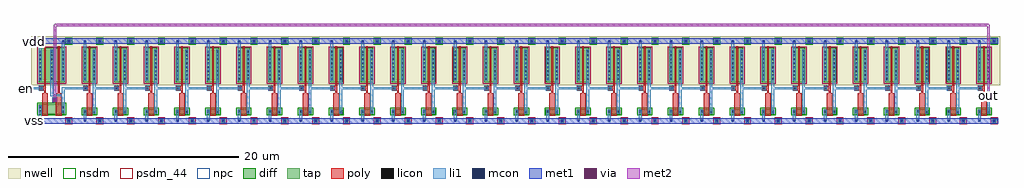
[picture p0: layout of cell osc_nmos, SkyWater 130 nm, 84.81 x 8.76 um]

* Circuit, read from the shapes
.subckt osc_nmos en out vdd vss
XM1 n1 en vss vss sky130_fd_pr__nfet_01v8 w=0.84 l=0.5
XM2 n2 out n1 vss sky130_fd_pr__nfet_01v8 w=0.84 l=0.5
XM3 n3 n2 vss vss sky130_fd_pr__nfet_01v8 w=0.42 l=0.5
XM4 n4 n3 vss vss sky130_fd_pr__nfet_01v8 w=0.42 l=0.5
XM5 n5 n4 vss vss sky130_fd_pr__nfet_01v8 w=0.42 l=0.5
XM6 n6 n5 vss vss sky130_fd_pr__nfet_01v8 w=0.42 l=0.5
XM7 n7 n6 vss vss sky130_fd_pr__nfet_01v8 w=0.42 l=0.5
XM8 n8 n7 vss vss sky130_fd_pr__nfet_01v8 w=0.42 l=0.5
XM9 n9 n8 vss vss sky130_fd_pr__nfet_01v8 w=0.42 l=0.5
XM10 n10 n9 vss vss sky130_fd_pr__nfet_01v8 w=0.42 l=0.5
XM11 n11 n10 vss vss sky130_fd_pr__nfet_01v8 w=0.42 l=0.5
XM12 n12 n11 vss vss sky130_fd_pr__nfet_01v8 w=0.42 l=0.5
XM13 n13 n12 vss vss sky130_fd_pr__nfet_01v8 w=0.42 l=0.5
XM14 n14 n13 vss vss sky130_fd_pr__nfet_01v8 w=0.42 l=0.5
XM15 n15 n14 vss vss sky130_fd_pr__nfet_01v8 w=0.42 l=0.5
XM16 n16 n15 vss vss sky130_fd_pr__nfet_01v8 w=0.42 l=0.5
XM17 n17 n16 vss vss sky130_fd_pr__nfet_01v8 w=0.42 l=0.5
XM18 n18 n17 vss vss sky130_fd_pr__nfet_01v8 w=0.42 l=0.5
XM19 n19 n18 vss vss sky130_fd_pr__nfet_01v8 w=0.42 l=0.5
XM20 n20 n19 vss vss sky130_fd_pr__nfet_01v8 w=0.42 l=0.5
XM21 n21 n20 vss vss sky130_fd_pr__nfet_01v8 w=0.42 l=0.5
XM22 n22 n21 vss vss sky130_fd_pr__nfet_01v8 w=0.42 l=0.5
XM23 n23 n22 vss vss sky130_fd_pr__nfet_01v8 w=0.42 l=0.5
XM24 n24 n23 vss vss sky130_fd_pr__nfet_01v8 w=0.42 l=0.5
XM25 n25 n24 vss vss sky130_fd_pr__nfet_01v8 w=0.42 l=0.5
XM26 n26 n25 vss vss sky130_fd_pr__nfet_01v8 w=0.42 l=0.5
XM27 n27 n26 vss vss sky130_fd_pr__nfet_01v8 w=0.42 l=0.5
XM28 n28 n27 vss vss sky130_fd_pr__nfet_01v8 w=0.42 l=0.5
XM29 n29 n28 vss vss sky130_fd_pr__nfet_01v8 w=0.42 l=0.5
XM30 n30 n29 vss vss sky130_fd_pr__nfet_01v8 w=0.42 l=0.5
XM31 n31 n30 vss vss sky130_fd_pr__nfet_01v8 w=0.42 l=0.5
XM32 out n31 vss vss sky130_fd_pr__nfet_01v8 w=0.42 l=0.5
XM33 n2 en vdd vdd sky130_fd_pr__pfet_01v8 w=3 l=0.15
XM34 vdd out n2 vdd sky130_fd_pr__pfet_01v8 w=3 l=0.15
XM35 n3 n2 vdd vdd sky130_fd_pr__pfet_01v8 w=3 l=0.15
XM36 n4 n3 vdd vdd sky130_fd_pr__pfet_01v8 w=3 l=0.15
XM37 n5 n4 vdd vdd sky130_fd_pr__pfet_01v8 w=3 l=0.15
XM38 n6 n5 vdd vdd sky130_fd_pr__pfet_01v8 w=3 l=0.15
XM39 n7 n6 vdd vdd sky130_fd_pr__pfet_01v8 w=3 l=0.15
XM40 n8 n7 vdd vdd sky130_fd_pr__pfet_01v8 w=3 l=0.15
XM41 n9 n8 vdd vdd sky130_fd_pr__pfet_01v8 w=3 l=0.15
XM42 n10 n9 vdd vdd sky130_fd_pr__pfet_01v8 w=3 l=0.15
XM43 n11 n10 vdd vdd sky130_fd_pr__pfet_01v8 w=3 l=0.15
XM44 n12 n11 vdd vdd sky130_fd_pr__pfet_01v8 w=3 l=0.15
XM45 n13 n12 vdd vdd sky130_fd_pr__pfet_01v8 w=3 l=0.15
XM46 n14 n13 vdd vdd sky130_fd_pr__pfet_01v8 w=3 l=0.15
XM47 n15 n14 vdd vdd sky130_fd_pr__pfet_01v8 w=3 l=0.15
XM48 n16 n15 vdd vdd sky130_fd_pr__pfet_01v8 w=3 l=0.15
XM49 n17 n16 vdd vdd sky130_fd_pr__pfet_01v8 w=3 l=0.15
XM50 n18 n17 vdd vdd sky130_fd_pr__pfet_01v8 w=3 l=0.15
XM51 n19 n18 vdd vdd sky130_fd_pr__pfet_01v8 w=3 l=0.15
XM52 n20 n19 vdd vdd sky130_fd_pr__pfet_01v8 w=3 l=0.15
XM53 n21 n20 vdd vdd sky130_fd_pr__pfet_01v8 w=3 l=0.15
XM54 n22 n21 vdd vdd sky130_fd_pr__pfet_01v8 w=3 l=0.15
XM55 n23 n22 vdd vdd sky130_fd_pr__pfet_01v8 w=3 l=0.15
XM56 n24 n23 vdd vdd sky130_fd_pr__pfet_01v8 w=3 l=0.15
XM57 n25 n24 vdd vdd sky130_fd_pr__pfet_01v8 w=3 l=0.15
XM58 n26 n25 vdd vdd sky130_fd_pr__pfet_01v8 w=3 l=0.15
XM59 n27 n26 vdd vdd sky130_fd_pr__pfet_01v8 w=3 l=0.15
XM60 n28 n27 vdd vdd sky130_fd_pr__pfet_01v8 w=3 l=0.15
XM61 n29 n28 vdd vdd sky130_fd_pr__pfet_01v8 w=3 l=0.15
XM62 n30 n29 vdd vdd sky130_fd_pr__pfet_01v8 w=3 l=0.15
XM63 n31 n30 vdd vdd sky130_fd_pr__pfet_01v8 w=3 l=0.15
XM64 out n31 vdd vdd sky130_fd_pr__pfet_01v8 w=3 l=0.15
.ends

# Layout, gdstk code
import gdstk
lib = gdstk.Library(unit=1e-6, precision=1e-09)
def R(c, l, rs):  # rectangles x0, y0, x1, y1
    for r in rs: c.add(gdstk.rectangle(r[:2], r[2:], *l))
def A(c, l, x, y, w, h, nx, ny, dx, dy):  # array of equal rectangles
    R(c, l, [(x+i*dx, y+j*dy, x+i*dx+w, y+j*dy+h) for i in range(nx) for j in range(ny)])
nwell = (64, 20)
diff = (65, 20)
tap = (65, 44)
poly = (66, 20)
licon = (66, 44)
li1 = (67, 20)
mcon = (67, 44)
met1 = (68, 20)
via = (68, 44)
met2 = (69, 20)
nsdm = (93, 44)
psdm_44 = (94, 44)
npc = (95, 20)

osc_nmos = lib.new_cell('osc_nmos')
R(osc_nmos, nwell, [(-0.15,3.09,84.03,7.34)])
A(osc_nmos, diff, 4.38, 0.6, 1.08, 0.42, 30, 1, 2.68, 0)
A(osc_nmos, diff, 4.38, 3.34, 1.08, 3, 30, 1, 2.68, 0)
R(osc_nmos, diff, [(0.5,0.6,2.78,1.44), (0.5,3.34,2.78,6.34)])
A(osc_nmos, tap, 2.96, -0.17, 0.34, 0.34, 31, 2, 2.68, 6.94)
A(osc_nmos, poly, 1.99, 0.47, 0.5, 1.92, 31, 1, 2.68, 0)
A(osc_nmos, poly, 2.165, 2.39, 0.15, 4.08, 31, 1, 2.68, 0)
A(osc_nmos, poly, 4.43, 2.675, 0.49, 0.33, 30, 1, 2.68, 0)
R(osc_nmos, poly, [(0.79,0.47,1.29,2.39), (1.75,1.675,2.24,2.005), (0.965,2.39,1.115,6.47), (0.55,2.675,1.04,3.005)])
A(osc_nmos, licon, 3.045, -0.085, 0.17, 0.17, 31, 2, 2.68, 6.94)
A(osc_nmos, licon, 4.51, 2.755, 0.17, 0.17, 30, 1, 2.68, 0)
A(osc_nmos, licon, 0.56, 3.565, 0.17, 0.17, 3, 8, 0.995, 0.34)
A(osc_nmos, licon, 4.44, 3.565, 0.17, 0.17, 1, 8, 0, 0.34)
A(osc_nmos, licon, 5.23, 3.565, 0.17, 0.17, 1, 8, 0, 0.34)
A(osc_nmos, licon, 7.12, 3.565, 0.17, 0.17, 1, 8, 0, 0.34)
A(osc_nmos, licon, 7.91, 3.565, 0.17, 0.17, 1, 8, 0, 0.34)
A(osc_nmos, licon, 9.8, 3.565, 0.17, 0.17, 1, 8, 0, 0.34)
A(osc_nmos, licon, 10.59, 3.565, 0.17, 0.17, 1, 8, 0, 0.34)
A(osc_nmos, licon, 12.48, 3.565, 0.17, 0.17, 1, 8, 0, 0.34)
A(osc_nmos, licon, 13.27, 3.565, 0.17, 0.17, 1, 8, 0, 0.34)
A(osc_nmos, licon, 15.16, 3.565, 0.17, 0.17, 1, 8, 0, 0.34)
A(osc_nmos, licon, 15.95, 3.565, 0.17, 0.17, 1, 8, 0, 0.34)
A(osc_nmos, licon, 17.84, 3.565, 0.17, 0.17, 1, 8, 0, 0.34)
A(osc_nmos, licon, 18.63, 3.565, 0.17, 0.17, 1, 8, 0, 0.34)
A(osc_nmos, licon, 20.52, 3.565, 0.17, 0.17, 1, 8, 0, 0.34)
A(osc_nmos, licon, 21.31, 3.565, 0.17, 0.17, 1, 8, 0, 0.34)
A(osc_nmos, licon, 23.2, 3.565, 0.17, 0.17, 1, 8, 0, 0.34)
A(osc_nmos, licon, 23.99, 3.565, 0.17, 0.17, 1, 8, 0, 0.34)
A(osc_nmos, licon, 25.88, 3.565, 0.17, 0.17, 1, 8, 0, 0.34)
A(osc_nmos, licon, 26.67, 3.565, 0.17, 0.17, 1, 8, 0, 0.34)
A(osc_nmos, licon, 28.56, 3.565, 0.17, 0.17, 1, 8, 0, 0.34)
A(osc_nmos, licon, 29.35, 3.565, 0.17, 0.17, 1, 8, 0, 0.34)
A(osc_nmos, licon, 31.24, 3.565, 0.17, 0.17, 1, 8, 0, 0.34)
A(osc_nmos, licon, 32.03, 3.565, 0.17, 0.17, 1, 8, 0, 0.34)
A(osc_nmos, licon, 33.92, 3.565, 0.17, 0.17, 1, 8, 0, 0.34)
A(osc_nmos, licon, 34.71, 3.565, 0.17, 0.17, 1, 8, 0, 0.34)
A(osc_nmos, licon, 36.6, 3.565, 0.17, 0.17, 1, 8, 0, 0.34)
A(osc_nmos, licon, 37.39, 3.565, 0.17, 0.17, 1, 8, 0, 0.34)
A(osc_nmos, licon, 39.28, 3.565, 0.17, 0.17, 1, 8, 0, 0.34)
A(osc_nmos, licon, 40.07, 3.565, 0.17, 0.17, 1, 8, 0, 0.34)
A(osc_nmos, licon, 41.96, 3.565, 0.17, 0.17, 1, 8, 0, 0.34)
A(osc_nmos, licon, 42.75, 3.565, 0.17, 0.17, 1, 8, 0, 0.34)
A(osc_nmos, licon, 44.64, 3.565, 0.17, 0.17, 1, 8, 0, 0.34)
A(osc_nmos, licon, 45.43, 3.565, 0.17, 0.17, 1, 8, 0, 0.34)
A(osc_nmos, licon, 47.32, 3.565, 0.17, 0.17, 1, 8, 0, 0.34)
A(osc_nmos, licon, 48.11, 3.565, 0.17, 0.17, 1, 8, 0, 0.34)
A(osc_nmos, licon, 50, 3.565, 0.17, 0.17, 1, 8, 0, 0.34)
A(osc_nmos, licon, 50.79, 3.565, 0.17, 0.17, 1, 8, 0, 0.34)
A(osc_nmos, licon, 52.68, 3.565, 0.17, 0.17, 1, 8, 0, 0.34)
A(osc_nmos, licon, 53.47, 3.565, 0.17, 0.17, 1, 8, 0, 0.34)
A(osc_nmos, licon, 55.36, 3.565, 0.17, 0.17, 1, 8, 0, 0.34)
A(osc_nmos, licon, 56.15, 3.565, 0.17, 0.17, 1, 8, 0, 0.34)
A(osc_nmos, licon, 58.04, 3.565, 0.17, 0.17, 1, 8, 0, 0.34)
A(osc_nmos, licon, 58.83, 3.565, 0.17, 0.17, 1, 8, 0, 0.34)
A(osc_nmos, licon, 60.72, 3.565, 0.17, 0.17, 1, 8, 0, 0.34)
A(osc_nmos, licon, 61.51, 3.565, 0.17, 0.17, 1, 8, 0, 0.34)
A(osc_nmos, licon, 63.4, 3.565, 0.17, 0.17, 1, 8, 0, 0.34)
A(osc_nmos, licon, 64.19, 3.565, 0.17, 0.17, 1, 8, 0, 0.34)
A(osc_nmos, licon, 66.08, 3.565, 0.17, 0.17, 1, 8, 0, 0.34)
A(osc_nmos, licon, 66.87, 3.565, 0.17, 0.17, 1, 8, 0, 0.34)
A(osc_nmos, licon, 68.76, 3.565, 0.17, 0.17, 1, 8, 0, 0.34)
A(osc_nmos, licon, 69.55, 3.565, 0.17, 0.17, 1, 8, 0, 0.34)
A(osc_nmos, licon, 71.44, 3.565, 0.17, 0.17, 1, 8, 0, 0.34)
A(osc_nmos, licon, 72.23, 3.565, 0.17, 0.17, 1, 8, 0, 0.34)
A(osc_nmos, licon, 74.12, 3.565, 0.17, 0.17, 1, 8, 0, 0.34)
A(osc_nmos, licon, 74.91, 3.565, 0.17, 0.17, 1, 8, 0, 0.34)
A(osc_nmos, licon, 76.8, 3.565, 0.17, 0.17, 1, 8, 0, 0.34)
A(osc_nmos, licon, 77.59, 3.565, 0.17, 0.17, 1, 8, 0, 0.34)
A(osc_nmos, licon, 79.48, 3.565, 0.17, 0.17, 1, 8, 0, 0.34)
A(osc_nmos, licon, 80.27, 3.565, 0.17, 0.17, 1, 8, 0, 0.34)
A(osc_nmos, licon, 82.16, 3.565, 0.17, 0.17, 1, 8, 0, 0.34)
A(osc_nmos, licon, 82.95, 3.565, 0.17, 0.17, 1, 8, 0, 0.34)
R(osc_nmos, licon, [(4.44,0.725,4.61,0.895), (5.23,0.725,5.4,0.895), (7.12,0.725,7.29,0.895), (7.91,0.725,8.08,0.895), (9.8,0.725,9.97,0.895), (10.59,0.725,10.76,0.895), (12.48,0.725,12.65,0.895), (13.27,0.725,13.44,0.895), (15.16,0.725,15.33,0.895), (15.95,0.725,16.12,0.895), (17.84,0.725,18.01,0.895), (18.63,0.725,18.8,0.895), (20.52,0.725,20.69,0.895), (21.31,0.725,21.48,0.895), (23.2,0.725,23.37,0.895), (23.99,0.725,24.16,0.895), (25.88,0.725,26.05,0.895), (26.67,0.725,26.84,0.895), (28.56,0.725,28.73,0.895), (29.35,0.725,29.52,0.895), (31.24,0.725,31.41,0.895), (32.03,0.725,32.2,0.895), (33.92,0.725,34.09,0.895), (34.71,0.725,34.88,0.895), (36.6,0.725,36.77,0.895), (37.39,0.725,37.56,0.895), (39.28,0.725,39.45,0.895), (40.07,0.725,40.24,0.895), (41.96,0.725,42.13,0.895), (42.75,0.725,42.92,0.895), (44.64,0.725,44.81,0.895), (45.43,0.725,45.6,0.895), (47.32,0.725,47.49,0.895), (48.11,0.725,48.28,0.895), (50,0.725,50.17,0.895), (50.79,0.725,50.96,0.895), (52.68,0.725,52.85,0.895), (53.47,0.725,53.64,0.895), (55.36,0.725,55.53,0.895), (56.15,0.725,56.32,0.895), (58.04,0.725,58.21,0.895), (58.83,0.725,59,0.895), (60.72,0.725,60.89,0.895), (61.51,0.725,61.68,0.895), (63.4,0.725,63.57,0.895), (64.19,0.725,64.36,0.895), (66.08,0.725,66.25,0.895), (66.87,0.725,67.04,0.895), (68.76,0.725,68.93,0.895), (69.55,0.725,69.72,0.895), (71.44,0.725,71.61,0.895), (72.23,0.725,72.4,0.895), (74.12,0.725,74.29,0.895), (74.91,0.725,75.08,0.895), (76.8,0.725,76.97,0.895), (77.59,0.725,77.76,0.895), (79.48,0.725,79.65,0.895), (80.27,0.725,80.44,0.895), (82.16,0.725,82.33,0.895), (82.95,0.725,83.12,0.895), (0.56,0.765,0.73,0.935), (2.55,0.765,2.72,0.935), (0.56,1.105,0.73,1.275), (2.55,1.105,2.72,1.275), (1.83,1.755,2,1.925), (0.63,2.755,0.8,2.925)])
A(osc_nmos, li1, 3.005, -0.125, 0.25, 0.25, 31, 2, 2.68, 6.94)
A(osc_nmos, li1, 4.4, 0, 0.25, 0.975, 30, 1, 2.68, 0)
A(osc_nmos, li1, 5.19, 0.645, 0.25, 5.55, 30, 1, 2.68, 0)
A(osc_nmos, li1, 4.47, 2.715, 0.25, 0.25, 30, 1, 2.68, 0)
A(osc_nmos, li1, 2.635, 2.755, 1.96, 0.17, 30, 1, 2.68, 0)
A(osc_nmos, li1, 4.4, 3.485, 0.25, 3.455, 30, 1, 2.68, 0)
R(osc_nmos, li1, [(0.52,0,0.77,1.355), (2.51,0.685,2.76,2.925), (1.79,1.715,2.04,1.965), (1.79,1.715,2.04,1.965), (82.91,2.115,83.16,2.365), (1.515,2.155,1.765,6.195), (1.64,2.155,2.635,2.325), (-0.725,2.715,-0.475,2.965), (0.59,2.715,0.84,2.965), (-0.6,2.755,0.715,2.925), (0.52,3.485,0.77,6.94), (2.51,3.485,2.76,6.94)])
R(osc_nmos, mcon, [(0.56,-0.085,0.73,0.085), (3.045,-0.085,3.215,0.085), (4.44,-0.085,4.61,0.085), (5.725,-0.085,5.895,0.085), (7.12,-0.085,7.29,0.085), (8.405,-0.085,8.575,0.085), (9.8,-0.085,9.97,0.085), (11.085,-0.085,11.255,0.085), (12.48,-0.085,12.65,0.085), (13.765,-0.085,13.935,0.085), (15.16,-0.085,15.33,0.085), (16.445,-0.085,16.615,0.085), (17.84,-0.085,18.01,0.085), (19.125,-0.085,19.295,0.085), (20.52,-0.085,20.69,0.085), (21.805,-0.085,21.975,0.085), (23.2,-0.085,23.37,0.085), (24.485,-0.085,24.655,0.085), (25.88,-0.085,26.05,0.085), (27.165,-0.085,27.335,0.085), (28.56,-0.085,28.73,0.085), (29.845,-0.085,30.015,0.085), (31.24,-0.085,31.41,0.085), (32.525,-0.085,32.695,0.085), (33.92,-0.085,34.09,0.085), (35.205,-0.085,35.375,0.085), (36.6,-0.085,36.77,0.085), (37.885,-0.085,38.055,0.085), (39.28,-0.085,39.45,0.085), (40.565,-0.085,40.735,0.085), (41.96,-0.085,42.13,0.085), (43.245,-0.085,43.415,0.085), (44.64,-0.085,44.81,0.085), (45.925,-0.085,46.095,0.085), (47.32,-0.085,47.49,0.085), (48.605,-0.085,48.775,0.085), (50,-0.085,50.17,0.085), (51.285,-0.085,51.455,0.085), (52.68,-0.085,52.85,0.085), (53.965,-0.085,54.135,0.085), (55.36,-0.085,55.53,0.085), (56.645,-0.085,56.815,0.085), (58.04,-0.085,58.21,0.085), (59.325,-0.085,59.495,0.085), (60.72,-0.085,60.89,0.085), (62.005,-0.085,62.175,0.085), (63.4,-0.085,63.57,0.085), (64.685,-0.085,64.855,0.085), (66.08,-0.085,66.25,0.085), (67.365,-0.085,67.535,0.085), (68.76,-0.085,68.93,0.085), (70.045,-0.085,70.215,0.085), (71.44,-0.085,71.61,0.085), (72.725,-0.085,72.895,0.085), (74.12,-0.085,74.29,0.085), (75.405,-0.085,75.575,0.085), (76.8,-0.085,76.97,0.085), (78.085,-0.085,78.255,0.085), (79.48,-0.085,79.65,0.085), (80.765,-0.085,80.935,0.085), (82.16,-0.085,82.33,0.085), (83.445,-0.085,83.615,0.085), (1.83,1.755,2,1.925), (82.95,2.155,83.12,2.325), (-0.685,2.755,-0.515,2.925), (0.56,6.855,0.73,7.025), (2.55,6.855,2.72,7.025), (3.045,6.855,3.215,7.025), (4.44,6.855,4.61,7.025), (5.725,6.855,5.895,7.025), (7.12,6.855,7.29,7.025), (8.405,6.855,8.575,7.025), (9.8,6.855,9.97,7.025), (11.085,6.855,11.255,7.025), (12.48,6.855,12.65,7.025), (13.765,6.855,13.935,7.025), (15.16,6.855,15.33,7.025), (16.445,6.855,16.615,7.025), (17.84,6.855,18.01,7.025), (19.125,6.855,19.295,7.025), (20.52,6.855,20.69,7.025), (21.805,6.855,21.975,7.025), (23.2,6.855,23.37,7.025), (24.485,6.855,24.655,7.025), (25.88,6.855,26.05,7.025), (27.165,6.855,27.335,7.025), (28.56,6.855,28.73,7.025), (29.845,6.855,30.015,7.025), (31.24,6.855,31.41,7.025), (32.525,6.855,32.695,7.025), (33.92,6.855,34.09,7.025), (35.205,6.855,35.375,7.025), (36.6,6.855,36.77,7.025), (37.885,6.855,38.055,7.025), (39.28,6.855,39.45,7.025), (40.565,6.855,40.735,7.025), (41.96,6.855,42.13,7.025), (43.245,6.855,43.415,7.025), (44.64,6.855,44.81,7.025), (45.925,6.855,46.095,7.025), (47.32,6.855,47.49,7.025), (48.605,6.855,48.775,7.025), (50,6.855,50.17,7.025), (51.285,6.855,51.455,7.025), (52.68,6.855,52.85,7.025), (53.965,6.855,54.135,7.025), (55.36,6.855,55.53,7.025), (56.645,6.855,56.815,7.025), (58.04,6.855,58.21,7.025), (59.325,6.855,59.495,7.025), (60.72,6.855,60.89,7.025), (62.005,6.855,62.175,7.025), (63.4,6.855,63.57,7.025), (64.685,6.855,64.855,7.025), (66.08,6.855,66.25,7.025), (67.365,6.855,67.535,7.025), (68.76,6.855,68.93,7.025), (70.045,6.855,70.215,7.025), (71.44,6.855,71.61,7.025), (72.725,6.855,72.895,7.025), (74.12,6.855,74.29,7.025), (75.405,6.855,75.575,7.025), (76.8,6.855,76.97,7.025), (78.085,6.855,78.255,7.025), (79.48,6.855,79.65,7.025), (80.765,6.855,80.935,7.025), (82.16,6.855,82.33,7.025), (83.445,6.855,83.615,7.025)])
R(osc_nmos, met1, [(0,-0.24,83.88,0.24), (1.74,1.665,2.09,2.015), (1.74,1.665,2.09,2.015), (82.86,2.065,83.21,2.415), (82.86,2.065,83.21,2.415), (-0.775,2.665,-0.425,3.015), (0,6.7,83.88,7.18)])
R(osc_nmos, via, [(1.84,1.765,1.99,1.915), (82.96,2.165,83.11,2.315)])
R(osc_nmos, met2, [(1.74,1.665,2.09,2.015), (1.8,1.84,2.03,8.34), (82.86,2.065,83.21,2.415), (82.92,2.24,83.15,8.34), (1.915,8.225,83.035,8.455)])
A(osc_nmos, nsdm, 4.255, 0.475, 1.33, 0.67, 30, 1, 2.68, 0)
A(osc_nmos, nsdm, 2.83, 6.64, 0.6, 0.6, 31, 1, 2.68, 0)
R(osc_nmos, nsdm, [(0.375,0.475,2.905,1.565)])
A(osc_nmos, psdm_44, 2.83, -0.3, 0.6, 0.6, 31, 1, 2.68, 0)
A(osc_nmos, psdm_44, 4.255, 3.215, 1.33, 3.25, 30, 1, 2.68, 0)
R(osc_nmos, psdm_44, [(0.375,3.215,2.905,6.465)])
A(osc_nmos, npc, 4.38, 2.625, 0.43, 0.43, 30, 1, 2.68, 0)
R(osc_nmos, npc, [(1.7,1.625,2.13,2.055), (0.5,2.625,0.93,3.055)])
osc_nmos.add(gdstk.Label('vss', (0.1,0), layer=68, texttype=16))
osc_nmos.add(gdstk.Label('vdd', (0.1,6.94), layer=68, texttype=16))
osc_nmos.add(gdstk.Label('en', (-0.6,2.84), layer=68, texttype=16))
osc_nmos.add(gdstk.Label('out', (83.035,2.24), layer=68, texttype=16))
osc_nmos.add(gdstk.Label('vss', (0.1,0), layer=68, texttype=5))
osc_nmos.add(gdstk.Label('vdd', (0.1,6.94), layer=68, texttype=5))
osc_nmos.add(gdstk.Label('en', (-0.6,2.84), layer=68, texttype=5))
osc_nmos.add(gdstk.Label('out', (83.035,2.24), layer=68, texttype=5))

lib.write_gds('osc_nmos.gds')
